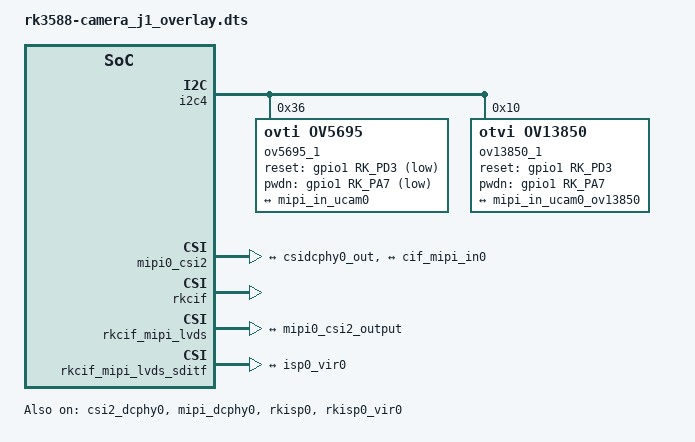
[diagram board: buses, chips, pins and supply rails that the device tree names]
/dts-v1/;
/plugin/;

#include <dt-bindings/usb/pd.h>
#include <dt-bindings/gpio/gpio.h>
#include <dt-bindings/pwm/pwm.h>
#include <dt-bindings/pinctrl/rockchip.h>
#include <dt-bindings/input/rk-input.h>
#include <dt-bindings/display/drm_mipi_dsi.h>
#include <dt-bindings/display/rockchip_vop.h>
#include <dt-bindings/sensor-dev.h>
#include <dt-bindings/clock/rk3588-cru.h>
#include <dt-bindings/power/rk3588-power.h>

/ {
    fragment@0 {
        target = <&csi2_dcphy0>;
        __overlay__ {
            status = "okay";

            ports {
                port@0 {
                    reg = <0>;

                    mipi_in_ucam0: endpoint@1 {
                        reg = <1>;
                        remote-endpoint = <&ov5695_out_1>;
                        data-lanes = <1 2>;
                    };

                    mipi_in_ucam0_ov13850: endpoint@2 {
                        reg = <2>;
                        remote-endpoint = <&ov13850_out_1>;
                        data-lanes = <1 2 3 4>;
                    };
                };

                port@1 {
                    reg = <1>;

                    csidcphy0_out: endpoint@0 {
                        reg = <0>;
                        remote-endpoint = <&mipi0_csi2_input>;
                    };
                };
            };
        };
    };

    fragment@1 {
        target = <&mipi_dcphy0>;
        __overlay__ {
            status = "okay";
        };
    };

    fragment@2 {
        target = <&i2c4>;
        __overlay__ {
            status = "okay";
            pinctrl-0 = <&i2c4m1_xfer>;

            ov5695_1: ov5695@36 {
                status = "okay";
                compatible = "ovti,ov5695";
                reg = <0x36>;
                clocks = <&cru CLK_MIPI_CAMARAOUT_M1>;
                clock-names = "xvclk";
                power-domains = <&power RK3588_PD_VI>;
                pinctrl-names = "default";
                pinctrl-0 = <&mipim0_camera1_clk>;
                reset-gpios = <&gpio1 RK_PD3 GPIO_ACTIVE_LOW>;
                pwdn-gpios = <&gpio1 RK_PA7 GPIO_ACTIVE_LOW>;
                rockchip,camera-module-index = <0>;
                rockchip,camera-module-facing = "back";
                rockchip,camera-module-name = "default";
                rockchip,camera-module-lens-name = "default";

                port {
                    ov5695_out_1: endpoint {
                        remote-endpoint = <&mipi_in_ucam0>;
                        data-lanes = <1 2>;
                    };
                };
            };

            ov13850_1: ov13850@10 {
                status = "okay";
                compatible = "otvi,ov13850";
                reg = <0x10>;
                clocks = <&cru CLK_MIPI_CAMARAOUT_M1>;
                clock-names = "xvclk";
                power-domains = <&power RK3588_PD_VI>;
                pinctrl-names = "default";
                pinctrl-0 = <&mipim0_camera1_clk>;
                reset-gpios = <&gpio1 RK_PD3 GPIO_ACTIVE_HIGH>;
                pwdn-gpios = <&gpio1 RK_PA7 GPIO_ACTIVE_HIGH>;
                rockchip,camera-module-index = <0>;
                rockchip,camera-module-facing = "back";
                rockchip,camera-module-name = "CMK-CT0116";
                rockchip,camera-module-lens-name = "Largan-50013A1";

                port {
                    ov13850_out_1: endpoint {
                        remote-endpoint = <&mipi_in_ucam0_ov13850>;
                        data-lanes = <1 2 3 4>;
                    };
                };
            };
        };
    };

    fragment@3 {
        target = <&mipi0_csi2>;
        __overlay__ {
            status = "okay";

            ports {
                port@0 {
                    reg = <0>;

                    mipi0_csi2_input: endpoint@1 {
                        reg = <1>;
                        remote-endpoint = <&csidcphy0_out>;
                    };
                };

                port@1 {
                    reg = <1>;

                    mipi0_csi2_output: endpoint@0 {
                        reg = <0>;
                        remote-endpoint = <&cif_mipi_in0>;
                    };
                };
            };
        };
    };

    fragment@4 {
        target = <&rkcif>;
        __overlay__ {
            status = "okay";
        };
    };

    fragment@5 {
        target = <&rkcif_mmu>;
        __overlay__ {
            status = "okay";
        };
    };

    fragment@6 {
        target = <&rkcif_mipi_lvds>;
        __overlay__ {
            status = "okay";

            port {
                cif_mipi_in0: endpoint {
                    remote-endpoint = <&mipi0_csi2_output>;
                };
            };
        };
    };

    fragment@7 {
        target = <&rkcif_mipi_lvds_sditf>;
        __overlay__ {
            status = "okay";

            port {
                mipi_lvds_sditf: endpoint {
                    remote-endpoint = <&isp0_vir0>;
                };
            };
        };
    };

    fragment@8 {
        target = <&rkisp0>;
        __overlay__ {
            status = "okay";
        };
    };

    fragment@9 {
        target = <&isp0_mmu>;
        __overlay__ {
            status = "okay";
        };
    };

    fragment@10 {
        target = <&rkisp0_vir0>;
        __overlay__ {
            status = "okay";

            port {
                isp0_vir0: endpoint@0 {
                    reg = <0>;
                    remote-endpoint = <&mipi_lvds_sditf>;
                };
            };
        };
    };
};
